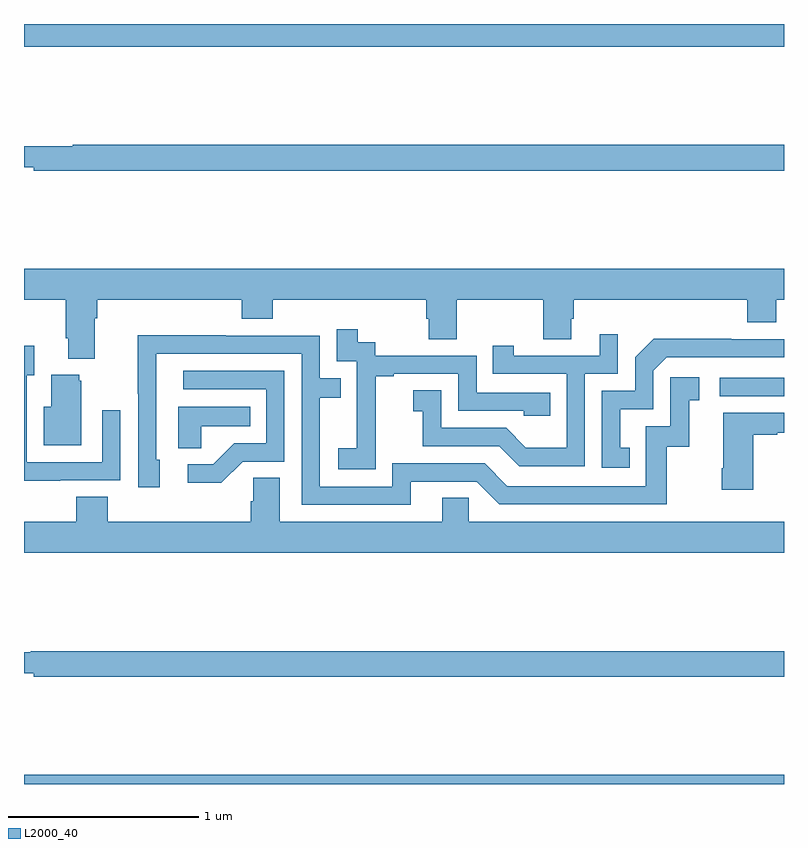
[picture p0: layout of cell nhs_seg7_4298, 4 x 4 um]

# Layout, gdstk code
import gdstk
lib = gdstk.Library(unit=1e-6, precision=1e-09)
def R(c, l, rs):  # rectangles x0, y0, x1, y1
    for r in rs: c.add(gdstk.rectangle(r[:2], r[2:], *l))
def P(c, l, *ps):  # polygons
    for p in ps: c.add(gdstk.Polygon(p, *l))
L2000_40 = (2000, 40)

nhs_seg7_4298 = lib.new_cell('nhs_seg7_4298')
R(nhs_seg7_4298, L2000_40, [(381,1066,385,1066.048), (384.663,1068.042,385,1068.138), (381,1069.88,385,1070)])
P(nhs_seg7_4298, L2000_40, [(385,1069.364),(381.257,1069.364),(381.257,1069.357),(381,1069.357),(381,1069.247),(381.052,1069.247),(381.052,1069.228),(385,1069.228)],
  [(381.373,1068.452),(381.386,1068.452),(381.386,1068.548),(382.145,1068.548),(382.145,1068.449),(382.31,1068.449),(382.31,1068.548),(383.117,1068.548),(383.117,1068.45),(383.129,1068.45),(383.129,1068.34),(383.277,1068.34),(383.277,1068.548),(383.734,1068.548),(383.734,1068.34),(383.881,1068.34),(383.881,1068.45),(383.894,1068.45),(383.894,1068.548),(384.806,1068.548),(384.806,1068.431),(384.958,1068.431),(384.958,1068.548),(385,1068.548),(385,1068.712),(381,1068.712),(381,1068.548),(381.221,1068.548),(381.221,1068.346),(381.233,1068.346),(381.233,1068.239),(381.373,1068.239)],
  [(382.851,1067.863),(382.85,1067.863),(382.85,1068.147),(382.945,1068.147),(382.945,1068.159),(383.286,1068.159),(383.286,1067.964),(383.631,1067.964),(383.631,1067.937),(383.771,1067.937),(383.771,1068.06),(383.382,1068.06),(383.382,1068.255),(382.848,1068.255),(382.848,1068.324),(382.756,1068.324),(382.756,1068.394),(382.647,1068.394),(382.647,1068.225),(382.752,1068.225),(382.752,1067.996),(382.751,1067.996),(382.751,1067.767),(382.653,1067.767),(382.653,1067.657),(382.851,1067.657)],
  [(383.952,1068.159),(384.126,1068.159),(384.126,1068.367),(384.029,1068.367),(384.029,1068.255),(383.578,1068.255),(383.578,1068.307),(383.467,1068.307),(383.467,1068.159),(383.856,1068.159),(383.856,1067.77),(383.642,1067.77),(383.538,1067.874),(383.196,1067.874),(383.196,1068.073),(383.049,1068.073),(383.049,1067.963),(383.098,1067.963),(383.098,1067.778),(383.501,1067.778),(383.606,1067.673),(383.952,1067.673)],
  [(383.035,1067.592),(383.382,1067.592),(383.502,1067.472),(384.382,1067.472),(384.382,1067.775),(384.5,1067.775),(384.5,1068.021),(384.553,1068.021),(384.553,1068.142),(384.402,1068.142),(384.402,1067.883),(384.273,1067.883),(384.273,1067.568),(383.544,1067.568),(383.424,1067.688),(382.938,1067.688),(382.938,1067.565),(382.557,1067.565),(382.557,1068.034),(382.667,1068.034),(382.667,1068.135),(382.557,1068.135),(382.557,1068.36),(382.061,1068.36),(382.061,1068.362),(381.598,1068.362),(381.598,1068.055),(381.6,1068.055),(381.6,1067.562),(381.715,1067.562),(381.715,1067.706),(381.696,1067.706),(381.696,1068.264),(382.461,1068.264),(382.461,1067.469),(383.035,1067.469)],
  [(384.188,1067.769),(384.139,1067.769),(384.139,1067.973),(384.312,1067.973),(384.312,1068.174),(384.384,1068.246),(385,1068.246),(385,1068.342),(384.722,1068.342),(384.722,1068.344),(384.314,1068.344),(384.216,1068.246),(384.216,1068.069),(384.042,1068.069),(384.042,1067.664),(384.188,1067.664)],
  [(381.191,1067.598),(381.507,1067.598),(381.507,1067.968),(381.411,1067.968),(381.411,1067.694),(381.015,1067.694),(381.015,1068.151),(381.055,1068.151),(381.055,1068.307),(381,1068.307),(381,1067.597),(381.191,1067.597)],
  [(382.152,1067.697),(382.371,1067.697),(382.371,1068.174),(381.837,1068.174),(381.837,1068.078),(382.275,1068.078),(382.275,1067.793),(382.106,1067.793),(381.995,1067.682),(381.861,1067.682),(381.861,1067.585),(382.039,1067.585)],
  [(381.301,1068.123),(381.29,1068.123),(381.29,1068.154),(381.143,1068.154),(381.143,1067.986),(381.104,1067.986),(381.104,1067.783),(381.301,1067.783)],
  [(381.933,1067.882),(382.19,1067.882),(382.19,1067.986),(381.812,1067.986),(381.812,1067.767),(381.933,1067.767)],
  [(384.838,1067.839),(384.965,1067.839),(384.965,1067.849),(385,1067.849),(385,1067.953),(384.68,1067.953),(384.68,1067.662),(384.673,1067.662),(384.673,1067.55),(384.838,1067.55)],
  [(385,1067.38),(383.34,1067.38),(383.34,1067.507),(383.201,1067.507),(383.201,1067.38),(382.345,1067.38),(382.345,1067.612),(382.206,1067.612),(382.206,1067.489),(382.193,1067.489),(382.193,1067.38),(381.44,1067.38),(381.44,1067.513),(381.275,1067.513),(381.275,1067.38),(381,1067.38),(381,1067.216),(385,1067.216)],
  [(385,1066.7),(381.035,1066.7),(381.035,1066.693),(381,1066.693),(381,1066.583),(381.052,1066.583),(381.052,1066.564),(385,1066.564)])

lib.write_gds('nhs_seg7_4298.gds')
